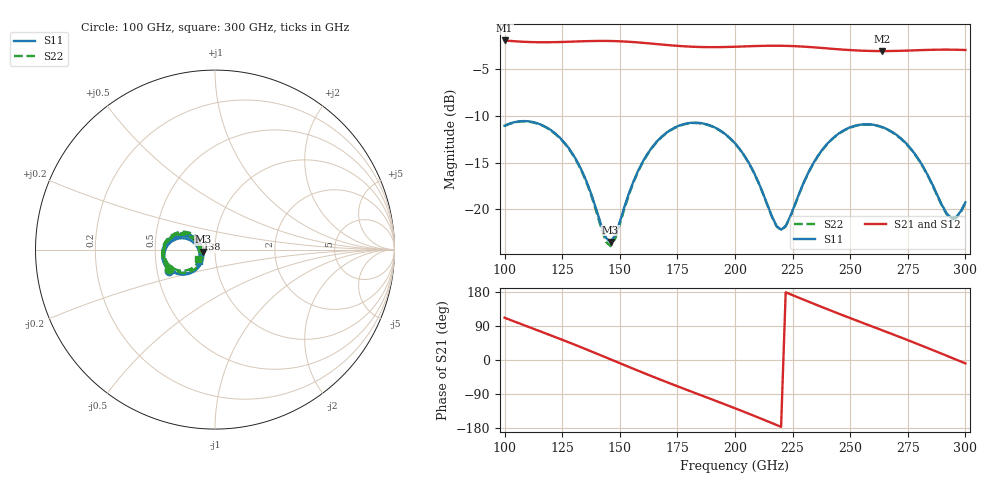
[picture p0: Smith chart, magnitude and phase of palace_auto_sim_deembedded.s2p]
! Created with skrf 1.11.0 (http://scikit-rf.org).
# GHz S DB R 50.0
!freq dBS11 angS11 dBS21 angS21 dBS12 angS12 dBS22 angS22
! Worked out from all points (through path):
!   101 points, 100 GHz to 300 GHz, reference 50 ohm
!   highest |S21| = -1.89 dB at 100 GHz (marker M1); lowest = -3.0 dB at 264 GHz (marker M2)
!   group delay of S21, straight-line fit = 6.68 ps
!   lowest |S11| = -23.5 dB at 146 GHz (marker M3), VSWR 1.14, Z = 43.8 - j1.07 ohm
!   |S11| at or under -10 dB: start of sweep to end of sweep
!   |S22| runs from -24.0 to -10.6 dB; largest |S21 - S12| = 1.4e-13
!   S11 on the Smith chart (normalised r, x): 100 GHz: 0.58, -0.15; 138 GHz: 0.81, +0.10; 300 GHz: 0.83, -0.10
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100  -11.05 -155.0  -1.89 111.5  -1.89 111.5  -11.08 -157.5
108  -10.55 -170.1  -2.03 92.9  -2.03 92.9  -10.58 -172.9
116  -10.95 175.1  -2.08 74.4  -2.08 74.4  -10.99 172.0
126  -12.88 158.2  -2.04 50.9  -2.04 50.9  -12.93 154.7
134  -16.13 149.4  -1.98 31.6  -1.98 31.6  -16.23 145.3
138  -18.66 150.1  -1.95 21.7  -1.95 21.7  -18.83 145.7
144  -23.09 173.8  -1.94 6.7  -1.94 6.7  -23.51 169.7
146  -23.52 -169.5  -1.95 1.7  -1.95 1.7  -23.98 -172.6
158  -15.85 -133.4  -2.11 -28.4  -2.11 -28.4  -15.94 -136.0
168  -12.26 -145.8  -2.33 -52.7  -2.33 -52.7  -12.31 -149.1
184  -10.73 -173.1  -2.59 -90.1  -2.59 -90.1  -10.77 -177.0
200  -12.93 161.3  -2.57 -127.4  -2.57 -127.4  -12.97 156.9
210  -17.02 154.0  -2.48 -151.5  -2.48 -151.5  -17.06 149.3
220  -22.21 -170.8  -2.46 -176.4  -2.46 -176.4  -22.26 -175.7
234  -15.07 -136.4  -2.63 148.8  -2.63 148.8  -15.12 -141.7
248  -11.44 -154.5  -2.89 115.3  -2.89 115.3  -11.48 -160.1
264  -11.20 179.8  -3.03 78.2  -3.03 78.2  -11.24 173.8
268  -11.68 173.7  -3.02 68.9  -3.02 68.9  -11.72 167.6
280  -14.77 159.9  -2.93 40.4  -2.93 40.4  -14.82 153.5
292  -20.51 177.2  -2.88 10.9  -2.88 10.9  -20.61 170.5
296  -20.86 -161.8  -2.89 1.0  -2.89 1.0  -20.97 -168.4
300  -19.27 -145.4  -2.92 -9.0  -2.92 -9.0  -19.36 -151.9
